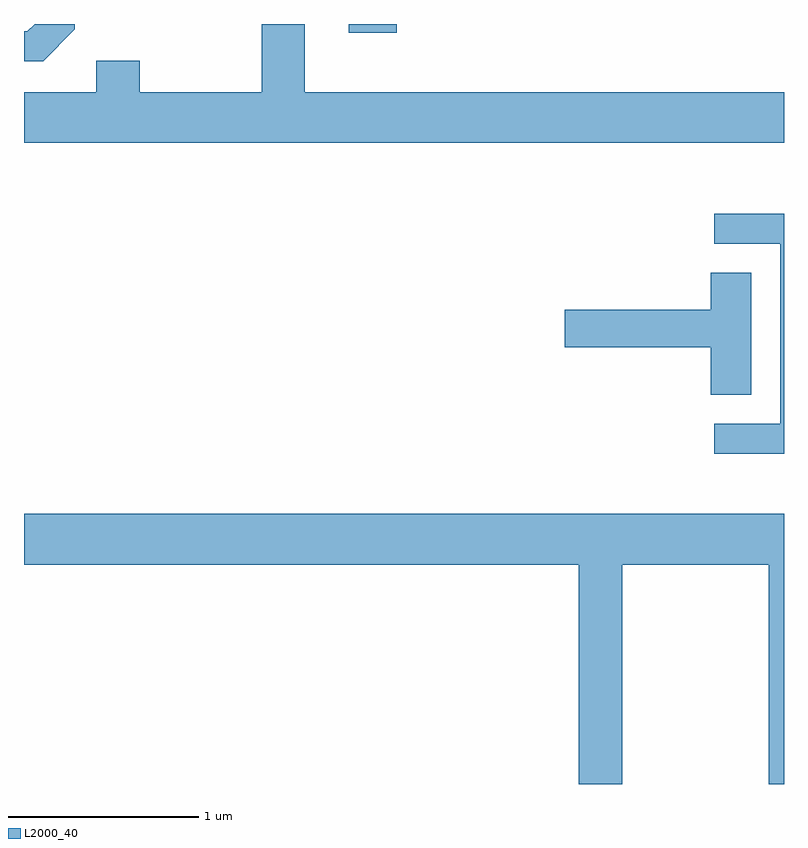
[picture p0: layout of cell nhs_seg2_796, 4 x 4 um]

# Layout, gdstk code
import gdstk
lib = gdstk.Library(unit=1e-6, precision=1e-09)
def R(c, l, rs):  # rectangles x0, y0, x1, y1
    for r in rs: c.add(gdstk.rectangle(r[:2], r[2:], *l))
def P(c, l, *ps):  # polygons
    for p in ps: c.add(gdstk.Polygon(p, *l))
L2000_40 = (2000, 40)

nhs_seg2_796 = lib.new_cell('nhs_seg2_796')
R(nhs_seg2_796, L2000_40, [(209.321,1077.756,209.574,1077.802)])
P(nhs_seg2_796, L2000_40, [(211.611,1077.444),(209.089,1077.444),(209.089,1077.802),(208.861,1077.802),(208.861,1077.444),(208.219,1077.444),(208.219,1077.609),(207.991,1077.609),(207.991,1077.444),(207.611,1077.444),(207.611,1077.176),(211.611,1077.176)],
  [(207.879,1077.774),(207.879,1077.802),(207.667,1077.802),(207.629,1077.764),(207.611,1077.764),(207.611,1077.606),(207.712,1077.606)],
  [(211.611,1076.804),(211.243,1076.804),(211.243,1076.646),(211.591,1076.646),(211.591,1075.699),(211.243,1075.699),(211.243,1075.541),(211.611,1075.541)],
  [(211.439,1076.494),(211.226,1076.494),(211.226,1076.299),(210.456,1076.299),(210.456,1076.101),(211.226,1076.101),(211.226,1075.851),(211.439,1075.851)],
  [(210.759,1074.956),(211.531,1074.956),(211.531,1073.802),(211.611,1073.802),(211.611,1075.224),(207.611,1075.224),(207.611,1074.956),(210.531,1074.956),(210.531,1073.802),(210.759,1073.802)])

lib.write_gds('nhs_seg2_796.gds')
